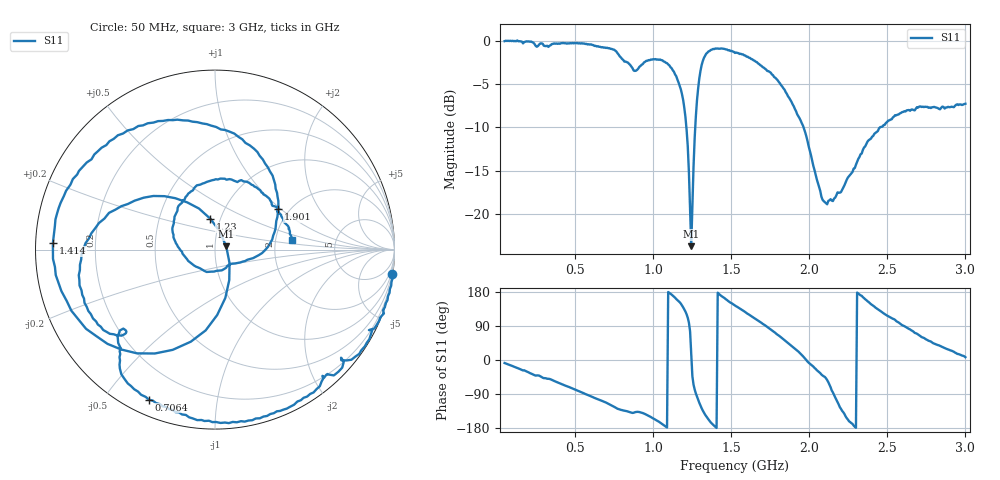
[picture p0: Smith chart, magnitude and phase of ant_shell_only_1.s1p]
! nanovna_capture.py 2026-11-02T23:13:50+0900
! NanoVNA-F_V2 fw 0.6.0 SN 4A3639384505514B
! cal: load open short cal'ed  over 50000000-3000000000 Hz, 201 points
! points 401, avg 4
! implant antenna still in the shell, Ledger battery removed and both boards (Ledger main board, implant modem board) > 10 cm away, same coax routing
# HZ S RI R 50
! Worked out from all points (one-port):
!   401 points, 50 MHz to 3 GHz, reference 50 ohm
!   lowest |S11| = -23.7 dB at 1.245 GHz (marker M1), VSWR 1.14, Z = 56.6 + j1.98 ohm
!   |S11| at or under -10 dB: 1.214 GHz to 1.271 GHz (56.79 MHz wide, 4.57 % of centre); 1.964 GHz to 2.453 GHz (489 MHz wide, 22.1 % of centre)
!   S11 on the Smith chart (normalised r, x): 50 MHz: 0, -14; 706.4 MHz: 0.06, -0.65; 1.23 GHz: 0.90, +0.32; 1.414 GHz: 0.05, +0.02; 1.901 GHz: 1.76, +0.96; 3 GHz: 2.47, +0.34
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5e7  0.9877 -0.1381
2.27e8  0.782 -0.5962
4.1875e8  0.4187 -0.8755
5.58875e8  0.0312 -0.9658
7.06375e8  -0.3688 -0.8353
7.875e8  -0.5292 -0.618
8.98125e8  -0.496 -0.465
9.71875e8  -0.6529 -0.4172
1.075125e9  -0.7524 -0.0844
1.15625e9  -0.5552 0.2224
1.2005e9  -0.2818 0.2977
1.23e9  -0.0254 0.1714
1.24475e9  0.0627 0.0174
1.27425e9  0.0122 -0.3644
1.311125e9  -0.4345 -0.578
1.355375e9  -0.8 -0.3409
1.414375e9  -0.9032 0.0369
1.525e9  -0.6879 0.5032
1.694625e9  -0.0994 0.7101
1.80525e9  0.2485 0.5231
1.89375e9  0.3535 0.2453
1.901125e9  0.3534 0.225
1.997e9  0.2432 -0.0312
2.10025e9  0.0831 -0.0822
2.2625e9  -0.1616 -0.0468
2.432125e9  -0.2145 0.2066
2.63125e9  0.0431 0.3952
3e9  0.4295 0.0558
